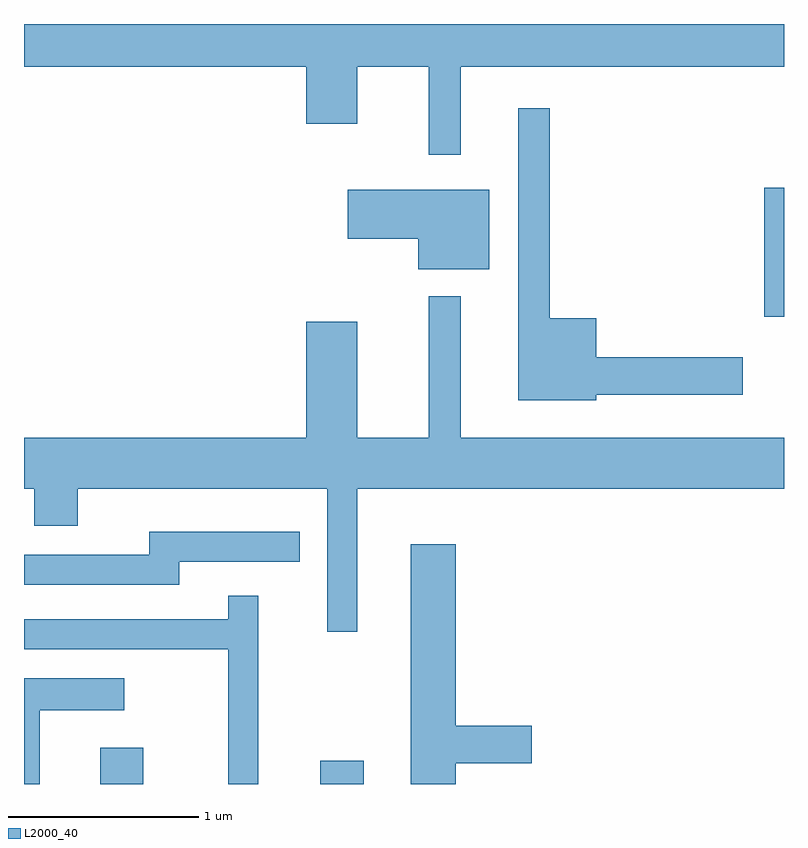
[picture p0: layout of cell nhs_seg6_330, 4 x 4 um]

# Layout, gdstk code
import gdstk
lib = gdstk.Library(unit=1e-6, precision=1e-09)
def R(c, l, rs):  # rectangles x0, y0, x1, y1
    for r in rs: c.add(gdstk.rectangle(r[:2], r[2:], *l))
def P(c, l, *ps):  # polygons
    for p in ps: c.add(gdstk.Polygon(p, *l))
L2000_40 = (2000, 40)

nhs_seg6_330 = lib.new_cell('nhs_seg6_330')
R(nhs_seg6_330, L2000_40, [(194.011,1646.162,194.239,1646.354), (195.171,1646.162,195.399,1646.284), (197.506,1648.621,197.611,1649.299)])
P(nhs_seg6_330, L2000_40, [(195.909,1649.936),(197.611,1649.936),(197.611,1650.162),(193.611,1650.162),(193.611,1649.936),(195.096,1649.936),(195.096,1649.636),(195.364,1649.636),(195.364,1649.936),(195.741,1649.936),(195.741,1649.473),(195.909,1649.473)],
  [(196.624,1648.211),(197.394,1648.211),(197.394,1648.409),(196.624,1648.409),(196.624,1648.614),(196.379,1648.614),(196.379,1649.718),(196.211,1649.718),(196.211,1648.181),(196.624,1648.181)],
  [(196.059,1649.289),(195.316,1649.289),(195.316,1649.031),(195.686,1649.031),(195.686,1648.871),(196.059,1648.871)],
  [(195.364,1647.716),(197.611,1647.716),(197.611,1647.984),(195.909,1647.984),(195.909,1648.728),(195.741,1648.728),(195.741,1647.984),(195.364,1647.984),(195.364,1648.594),(195.096,1648.594),(195.096,1647.984),(193.611,1647.984),(193.611,1647.716),(193.666,1647.716),(193.666,1647.521),(193.894,1647.521),(193.894,1647.716),(195.206,1647.716),(195.206,1646.963),(195.364,1646.963)],
  [(194.429,1647.331),(195.063,1647.331),(195.063,1647.489),(194.271,1647.489),(194.271,1647.369),(193.611,1647.369),(193.611,1647.211),(194.429,1647.211)],
  [(195.884,1646.271),(196.284,1646.271),(196.284,1646.469),(195.884,1646.469),(195.884,1647.424),(195.646,1647.424),(195.646,1646.162),(195.884,1646.162)],
  [(194.844,1647.153),(194.686,1647.153),(194.686,1647.029),(193.611,1647.029),(193.611,1646.871),(194.686,1646.871),(194.686,1646.162),(194.844,1646.162)],
  [(193.694,1646.551),(194.138,1646.551),(194.138,1646.719),(193.611,1646.719),(193.611,1646.162),(193.694,1646.162)])

lib.write_gds('nhs_seg6_330.gds')
